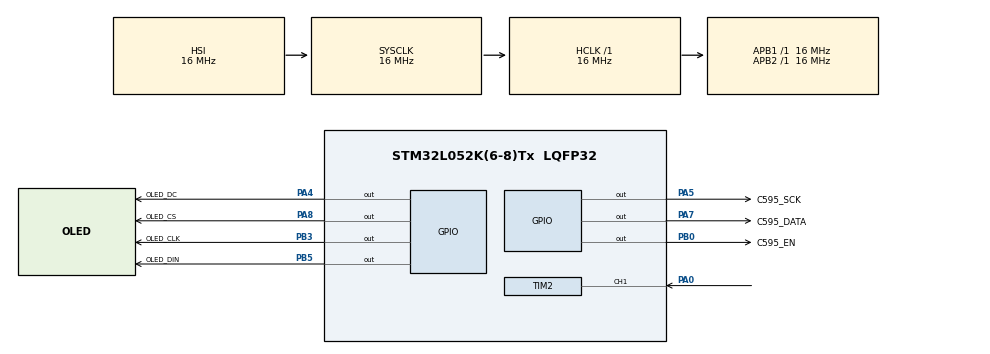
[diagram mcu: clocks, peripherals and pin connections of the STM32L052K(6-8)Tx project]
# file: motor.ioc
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Mcu.Family=STM32L0
RCC.MSI_VALUE=2097000
SH.S_TIM2_CH1.0=TIM2_CH1,Input_Capture1_from_TI1
TIM2.Channel-Input_Capture1_from_TI1=TIM_CHANNEL_1
TIM6.Prescaler=16-1
VP_TIM6_VS_ClockSourceINT.Mode=Enable_Timer
PB0.GPIO_Label=C595_EN
RCC.SYSCLKSource=RCC_SYSCLKSOURCE_HSI
ProjectManager.StackSize=0x400
RCC.HSI16_VALUE=16000000
PA8.GPIO_Label=OLED_CS
TIM2.ICPolarity_CH1=TIM_INPUTCHANNELPOLARITY_FALLING
ProjectManager.TargetToolchain=MDK-ARM V5.27
RCC.HCLKFreq_Value=16000000
RCC.APB2TimFreq_Value=16000000
RCC.LSE_VALUE=32768
RCC.AHBFreq_Value=16000000
PA5.Signal=GPIO_Output
board=custom
RCC.VCOOutputFreq_Value=48000000
RCC.APB2Freq_Value=16000000
NVIC.TIM2_IRQn=true\:0\:0\:false\:false\:true\:true\:true
PA8.Signal=GPIO_Output
TIM6.Period=1000
Mcu.Name=STM32L052K(6-8)Tx
PA0.Signal=S_TIM2_CH1
PB3.Signal=GPIO_Output
PA4.Signal=GPIO_Output
RCC.SYSCLKFreq_VALUE=16000000
Mcu.Package=LQFP32
PB5.Signal=GPIO_Output
TIM2.Prescaler=16-1
PA7.GPIO_Label=C595_DATA
PA5.GPIO_Label=C595_SCK
ProjectManager.HeapSize=0x200
RCC.HSI_VALUE=16000000
PB5.GPIO_Label=OLED_DIN
RCC.APB1TimFreq_Value=16000000
RCC.APB1Freq_Value=16000000
PB0.Signal=GPIO_Output
PA4.GPIO_Label=OLED_DC
RCC.HSI48_VALUE=48000000
PA7.Signal=GPIO_Output
PB3.GPIO_Label=OLED_CLK

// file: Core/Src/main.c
/* USER CODE BEGIN Header */
/**
  ******************************************************************************
  * @file           : main.c
  * @brief          : Main program body
  ******************************************************************************
  * @attention
  *
  * <h2><center>&copy; Copyright (c) 2023 STMicroelectronics.
  * All rights reserved.</center></h2>
  *
  * This software component is licensed by ST under BSD 3-Clause license,
  * the "License"; You may not use this file except in compliance with the
  * License. You may obtain a copy of the License at:
  *                        opensource.org/licenses/BSD-3-Clause
  *
  ******************************************************************************
  */
/* USER CODE END Header */
#include "main.h"

/* USER CODE BEGIN Includes */
#include "OLED.h"
#include "ssd1306_fonts.h"
#include "IR_10.h"
#include <stdio.h>
#include <string.h>
#include <math.h>

#include "motor.h"

/* USER CODE END Includes */

TIM_HandleTypeDef htim2;
TIM_HandleTypeDef htim6;

/* USER CODE BEGIN PV */
uint8_t dir = 0;
/* USER CODE END PV */

void SystemClock_Config(void);
static void MX_GPIO_Init(void);
static void MX_TIM2_Init(void);
static void MX_TIM6_Init(void);

/* USER CODE BEGIN 0 */

void user_define_func(void)
{
	OLED_Clear();
	oled_str(result, 0, 0, ssd1306xled_font6x8);
	oled_RefreshGram();
	if (strcmp(result, "00FFA857") == 0)
		dir = 1;
	else if (strcmp(result, "00FFC837") == 0)
		dir = 0;
}

uint8_t data_bit = 32;
void HAL_TIM_IC_CaptureCallback(TIM_HandleTypeDef *htim)
{
	if (htim->Channel == HAL_TIM_ACTIVE_CHANNEL_1)
	{
			signal_received(htim, data_bit);
	}
}

void HAL_TIM_PeriodElapsedCallback(TIM_HandleTypeDef *htim)
{

}
/* USER CODE END 0 */

int main(void)
{

  /* MCU Configuration--------------------------------------------------------*/

  /* Reset of all peripherals, Initializes the Flash interface and the Systick. */
  HAL_Init();

  /* Configure the system clock */
  SystemClock_Config();

  /* Initialize all configured peripherals */
  MX_GPIO_Init();
  MX_TIM2_Init();
  MX_TIM6_Init();
  /* USER CODE BEGIN 2 */
	oled_init();
	HAL_TIM_IC_Start_IT(&htim2, TIM_CHANNEL_1);
	HAL_TIM_Base_Start_IT(&htim6);

	result[0] = '\0';

  /* USER CODE END 2 */

  /* Infinite loop */
  /* USER CODE BEGIN WHILE */
  while (1)
  {
    motor_drive(dir, 10);

    /* USER CODE END WHILE */

  }
}

void SystemClock_Config(void)
{
  RCC_OscInitTypeDef RCC_OscInitStruct = {0};
  RCC_ClkInitTypeDef RCC_ClkInitStruct = {0};

  /** Configure the main internal regulator output voltage
  */
  __HAL_PWR_VOLTAGESCALING_CONFIG(PWR_REGULATOR_VOLTAGE_SCALE1);
  /** Initializes the RCC Oscillators according to the specified parameters
  * in the RCC_OscInitTypeDef structure.
  */
  RCC_OscInitStruct.OscillatorType = RCC_OSCILLATORTYPE_HSI;
  RCC_OscInitStruct.HSIState = RCC_HSI_ON;
  RCC_OscInitStruct.HSICalibrationValue = RCC_HSICALIBRATION_DEFAULT;
  RCC_OscInitStruct.PLL.PLLState = RCC_PLL_NONE;
  if (HAL_RCC_OscConfig(&RCC_OscInitStruct) != HAL_OK)
  {
    Error_Handler();
  }
  /** Initializes the CPU, AHB and APB buses clocks
  */
  RCC_ClkInitStruct.ClockType = RCC_CLOCKTYPE_HCLK|RCC_CLOCKTYPE_SYSCLK
                              |RCC_CLOCKTYPE_PCLK1|RCC_CLOCKTYPE_PCLK2;
  RCC_ClkInitStruct.SYSCLKSource = RCC_SYSCLKSOURCE_HSI;
  RCC_ClkInitStruct.AHBCLKDivider = RCC_SYSCLK_DIV1;
  RCC_ClkInitStruct.APB1CLKDivider = RCC_HCLK_DIV1;
  RCC_ClkInitStruct.APB2CLKDivider = RCC_HCLK_DIV1;

  if (HAL_RCC_ClockConfig(&RCC_ClkInitStruct, FLASH_LATENCY_0) != HAL_OK)
  {
    Error_Handler();
  }
}

static void MX_TIM2_Init(void)
{

  TIM_MasterConfigTypeDef sMasterConfig = {0};
  TIM_IC_InitTypeDef sConfigIC = {0};

  htim2.Instance = TIM2;
  htim2.Init.Prescaler = 16-1;
  htim2.Init.CounterMode = TIM_COUNTERMODE_UP;
  htim2.Init.Period = 65535;
  htim2.Init.ClockDivision = TIM_CLOCKDIVISION_DIV1;
  htim2.Init.AutoReloadPreload = TIM_AUTORELOAD_PRELOAD_DISABLE;
  if (HAL_TIM_IC_Init(&htim2) != HAL_OK)
  {
    Error_Handler();
  }
  sMasterConfig.MasterOutputTrigger = TIM_TRGO_RESET;
  sMasterConfig.MasterSlaveMode = TIM_MASTERSLAVEMODE_DISABLE;
  if (HAL_TIMEx_MasterConfigSynchronization(&htim2, &sMasterConfig) != HAL_OK)
  {
    Error_Handler();
  }
  sConfigIC.ICPolarity = TIM_INPUTCHANNELPOLARITY_FALLING;
  sConfigIC.ICSelection = TIM_ICSELECTION_DIRECTTI;
  sConfigIC.ICPrescaler = TIM_ICPSC_DIV1;
  sConfigIC.ICFilter = 0;
  if (HAL_TIM_IC_ConfigChannel(&htim2, &sConfigIC, TIM_CHANNEL_1) != HAL_OK)
  {
    Error_Handler();
  }

}

static void MX_TIM6_Init(void)
{

  TIM_MasterConfigTypeDef sMasterConfig = {0};

  htim6.Instance = TIM6;
  htim6.Init.Prescaler = 16-1;
  htim6.Init.CounterMode = TIM_COUNTERMODE_UP;
  htim6.Init.Period = 1000;
  htim6.Init.AutoReloadPreload = TIM_AUTORELOAD_PRELOAD_DISABLE;
  if (HAL_TIM_Base_Init(&htim6) != HAL_OK)
  {
    Error_Handler();
  }
  sMasterConfig.MasterOutputTrigger = TIM_TRGO_RESET;
  sMasterConfig.MasterSlaveMode = TIM_MASTERSLAVEMODE_DISABLE;
  if (HAL_TIMEx_MasterConfigSynchronization(&htim6, &sMasterConfig) != HAL_OK)
  {
    Error_Handler();
  }

}

static void MX_GPIO_Init(void)
{
  GPIO_InitTypeDef GPIO_InitStruct = {0};

  /* GPIO Ports Clock Enable */
  __HAL_RCC_GPIOA_CLK_ENABLE();
  __HAL_RCC_GPIOB_CLK_ENABLE();

  /*Configure GPIO pin Output Level */
  HAL_GPIO_WritePin(GPIOA, OLED_DC_Pin|C595_SCK_Pin|C595_DATA_Pin|OLED_CS_Pin, GPIO_PIN_RESET);

  /*Configure GPIO pin Output Level */
  HAL_GPIO_WritePin(GPIOB, C595_EN_Pin|OLED_CLK_Pin|OLED_DIN_Pin, GPIO_PIN_RESET);

  /*Configure GPIO pins : OLED_DC_Pin C595_SCK_Pin C595_DATA_Pin OLED_CS_Pin */
  GPIO_InitStruct.Pin = OLED_DC_Pin|C595_SCK_Pin|C595_DATA_Pin|OLED_CS_Pin;
  GPIO_InitStruct.Mode = GPIO_MODE_OUTPUT_PP;
  GPIO_InitStruct.Pull = GPIO_NOPULL;
  GPIO_InitStruct.Speed = GPIO_SPEED_FREQ_LOW;
  HAL_GPIO_Init(GPIOA, &GPIO_InitStruct);

  /*Configure GPIO pins : C595_EN_Pin OLED_CLK_Pin OLED_DIN_Pin */
  GPIO_InitStruct.Pin = C595_EN_Pin|OLED_CLK_Pin|OLED_DIN_Pin;
  GPIO_InitStruct.Mode = GPIO_MODE_OUTPUT_PP;
  GPIO_InitStruct.Pull = GPIO_NOPULL;
  GPIO_InitStruct.Speed = GPIO_SPEED_FREQ_LOW;
  HAL_GPIO_Init(GPIOB, &GPIO_InitStruct);

}

/* USER CODE BEGIN 4 */
// Timer input capture callback

/* USER CODE END 4 */

void Error_Handler(void)
{
}

/************************ (C) COPYRIGHT STMicroelectronics *****END OF FILE****/
